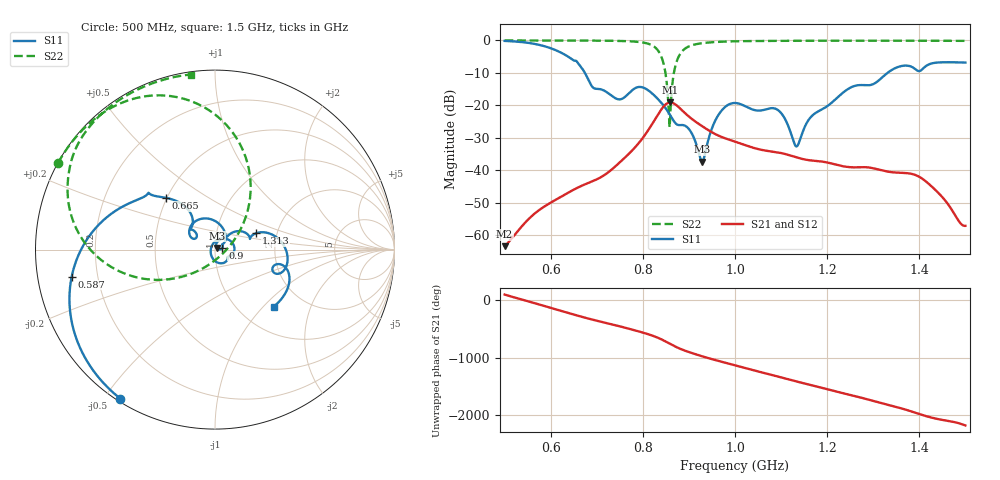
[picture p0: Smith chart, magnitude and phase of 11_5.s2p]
! TOUCHSTONE file generated by CST MICROWAVE STUDIO
! Date and time: Mon Oct 26 12:26:06 2020
! Project name: Scenario_1_Circular_Tissue_out_of_Line.cst
! Parameters = {dy1=-172.59; L_HA=400; MT=2.54; Rad_Dielectric=30; Rad_Lower=7.3; Rad_Upper=30; a_HA=580; a_WG=246; b_HA=500; b_WG=121; c_HA=0; c_WG=187; d_feed=85; dx1=866; h_feed=15; h_lower=18; h_upper=40}
! Header version: 2018
! Port assignment regex: !\s*Touchstone port\s*([0-9]+)\s*=\s*(CST MWS port|CST DS port)\s*([0-9]+|Zmin|Zmax)\s*\(\"(.*)\"\)(\s*mode\s*([0-9]+))?.*
! Touchstone port assignment:
! Touchstone port 1 = CST MWS port 1 ("")
! Touchstone port 2 = CST MWS port 2 ("")
# GHz S DB R 50
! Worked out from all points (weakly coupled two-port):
!   1001 points, 500 MHz to 1.5 GHz, reference 50 ohm
!   highest |S21| = -19.12 dB at 859 MHz (marker M1); lowest = -63.4 dB at 500 MHz (marker M2)
!   lowest |S11| = -37.4 dB at 929 MHz (marker M3), VSWR 1.03, Z = 51 + j0.883 ohm
!   |S11| at or under -10 dB: 674.2 MHz to 1.331 GHz (656.8 MHz wide, 65.5 % of centre)
!   |S22| runs from -26.8 to 0.0 dB; largest |S21 - S12| = 1.5e-05
!   S11 on the Smith chart (normalised r, x): 500 MHz: 0.01, -0.55; 587 MHz: 0.10, -0.09; 665 MHz: 0.49, +0.34; 900 MHz: 1.09, +0.02; 1.313 GHz: 1.55, +0.30; 1.5 GHz: 1.43, -1.15
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0.5  -0.14 -122.4  -63.45 96.3  -63.45 96.3  -0.01 151.1
0.587  -1.80 -169.3  -51.15 -104.7  -51.15 -104.7  -0.02 145.1
0.665  -8.03 133.4  -44.97 75.0  -44.97 75.0  -0.04 138.6
0.667  -8.41 131.7  -44.84 70.5  -44.84 70.5  -0.04 138.4
0.692  -14.55 131.9  -43.34 17.5  -43.34 17.5  -0.06 135.8
0.742  -17.94 142.8  -38.63 -79.5  -38.63 -79.5  -0.14 129.0
0.779  -15.12 145.1  -33.61 -157.7  -33.61 -157.7  -0.32 120.7
0.834  -18.27 67.1  -22.59 60.8  -22.59 60.8  -3.33 83.4
0.846  -20.26 52.4  -20.21 15.3  -20.21 15.3  -7.77 60.9
0.859  -22.97 39.1  -19.12 -40.4  -19.12 -40.4  -24.68 -88.2
0.874  -25.91 36.6  -20.11 -101.2  -20.11 -101.2  -6.26 -162.4
0.9  -27.33 15.2  -23.48 177.0  -23.48 177.0  -1.84 168.3
0.929  -37.44 40.1  -26.47 102.7  -26.47 102.7  -0.85 154.6
0.962  -23.44 59.0  -29.22 27.6  -29.22 27.6  -0.45 146.5
1  -19.29 3.8  -31.19 -54.5  -31.19 -54.5  -0.27 140.3
1.093  -21.45 -64.4  -34.54 111.6  -34.54 111.6  -0.13 130.3
1.133  -32.69 171.3  -36.04 27.1  -36.04 27.1  -0.11 126.9
1.167  -23.27 62.0  -37.04 -39.8  -37.04 -39.8  -0.10 124.2
1.313  -12.21 21.7  -39.88 18.8  -39.88 18.8  -0.08 113.1
1.334  -9.69 14.9  -40.51 -24.4  -40.51 -24.4  -0.08 111.5
1.408  -8.69 -12.7  -42.80 159.9  -42.80 159.9  -0.10 105.7
1.5  -6.82 -44.3  -57.19 -18.3  -57.28 -18.1  -0.13 97.9
